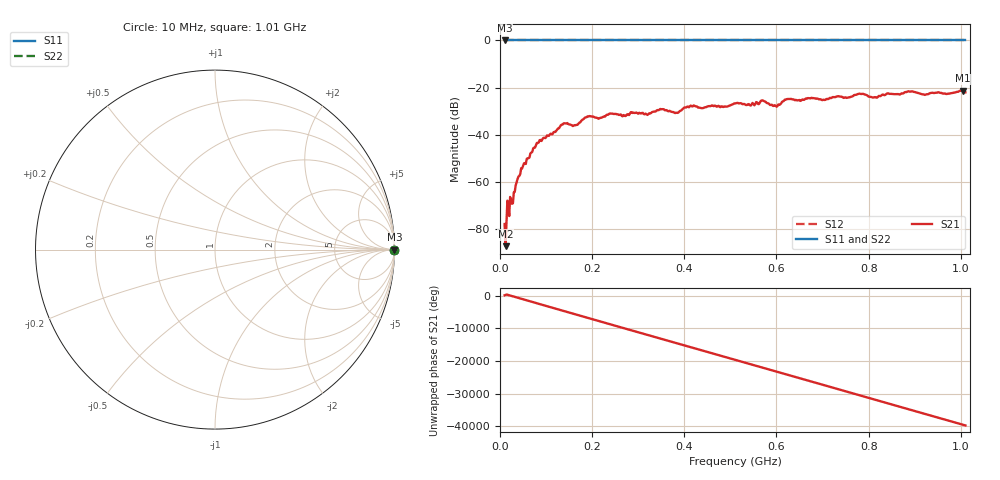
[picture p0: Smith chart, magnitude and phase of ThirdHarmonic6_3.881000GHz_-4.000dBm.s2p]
! 8/17/2025 1:36:24 PM
! C:\ANRITSUVNA\TEMP\TEMP.S2P
! CHANNEL.1
! TR.MEASUREMENT
! RAW.DATA
! RF.CORRECTION.OFF
! AVERAGING.OFF
! IF.BANDWIDTH: 5KHZ
! SWEEPTYPE:  FREQ.SWEEP(Linear)
! Reference Plane Port Info
! PORT:  PORT1  PORT2
! DISTANCE:  0  m  0  m
! TIME:  0  s  0  s
! PHASE.OFFSET:  0  deg.  0  deg.
! LOSS:  0  dB  0  dB
! REF.LOSS:  0  dB  0  dB
! REF.FREQ:  0  Hz  0  Hz
! Power Info
! POWER:  -20  dBm  -20  dBm
! EFF.POWER:  -20  dBm  -20  dBm
! SOURCE.ATTEN:  0  dB  0  dB
! TEST.ATTEN:  0  dB  0  dB
# GHZ S RI R 50.0
! FREQ.GHZ  S11RE  S11IM  S21RE  S21IM  S12RE  S12IM  S22RE  S22IM
!; PortSelection: Port_12
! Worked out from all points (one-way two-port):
!   501 points, 10 MHz to 1.01 GHz, reference 50 ohm
!   highest |S21| = -21.32 dB at 1.004 GHz (marker M1); lowest = -87.3 dB at 12 MHz (marker M2)
!   lowest |S11| = 0.0 dB at 10 MHz (marker M3)
!   |S11| at or under -10 dB: nowhere
!   |S22| runs from 0.0 to 0.0 dB; largest |S21 - S12| = 1.1
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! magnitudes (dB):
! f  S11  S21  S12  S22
! 10 MHz  0.0  -77.9  0.0  0.0
! 12 MHz  0.0  -87.3  0.0  0.0
! 20 MHz  0.0  -74.5  0.0  0.0
! 24 MHz  0.0  -67.6  0.0  0.0
! 42 MHz  0.0  -57.4  0.0  0.0
! 76 MHz  0.0  -45.5  0.0  0.0
! 136 MHz  0.0  -35.7  0.0  0.0
! 162 MHz  0.0  -35.9  0.0  0.0
! 178 MHz  0.0  -33.7  0.0  0.0
! 194 MHz  0.0  -32.1  0.0  0.0
! 318 MHz  0.0  -31.3  0.0  0.0
! 344 MHz  0.0  -29.6  0.0  0.0
! 384 MHz  0.0  -30.7  0.0  0.0
! 416 MHz  0.0  -27.9  0.0  0.0
! 510 MHz  0.0  -26.7  0.0  0.0
! 570 MHz  0.0  -25.4  0.0  0.0
! 598 MHz  0.0  -27.6  0.0  0.0
! 622 MHz  0.0  -24.9  0.0  0.0
! 678 MHz  0.0  -24.5  0.0  0.0
! 844 MHz  0.0  -22.6  0.0  0.0
! 1.004 GHz  0.0  -21.3  0.0  0.0
! 1.01 GHz  0.0  -22.0  0.0  0.0
